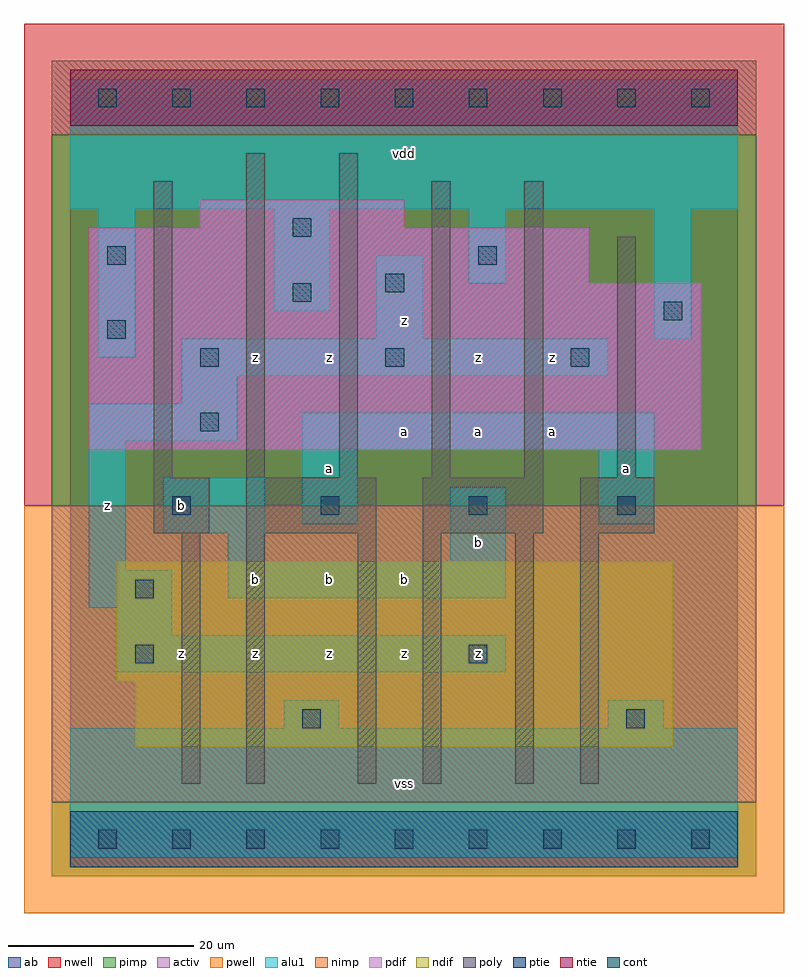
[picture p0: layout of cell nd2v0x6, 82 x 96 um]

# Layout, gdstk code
import gdstk
lib = gdstk.Library(unit=1e-6, precision=1e-09)
def R(c, l, rs):  # rectangles x0, y0, x1, y1
    for r in rs: c.add(gdstk.rectangle(r[:2], r[2:], *l))
def A(c, l, x, y, w, h, nx, ny, dx, dy):  # array of equal rectangles
    R(c, l, [(x+i*dx, y+j*dy, x+i*dx+w, y+j*dy+h) for i in range(nx) for j in range(ny)])
ndif = (3, 0)
pdif = (4, 0)
ntie = (5, 0)
ptie = (6, 0)
cont = (25, 0)
pwell = (41, 0)
nwell = (42, 0)
activ = (43, 0)
pimp = (44, 0)
nimp = (45, 0)
poly = (46, 0)
alu1 = (49, 0)
ab = (63, 0)

nd2v0x6 = lib.new_cell('nd2v0x6')
R(nd2v0x6, ndif, [(7,10,65,17), (5,17,65,30)])
R(nd2v0x6, pdif, [(2,42,68,60), (2,60,56,66), (14,66,36,69)])
R(nd2v0x6, ntie, [(0,77,72,83)])
R(nd2v0x6, ptie, [(0,-3,72,3)])
A(nd2v0x6, cont, 3, -1, 2, 2, 9, 2, 8, 80)
A(nd2v0x6, cont, 11, 35, 2, 2, 4, 1, 16, 0)
A(nd2v0x6, cont, 14, 51, 2, 2, 3, 1, 20, 0)
R(nd2v0x6, cont, [(25,12,27,14), (60,12,62,14), (7,19,9,21), (43,19,45,21), (7,26,9,28), (14,44,16,46), (4,54,6,56), (64,56,66,58), (24,58,26,60), (34,59,36,61), (4,62,6,64), (44,62,46,64), (24,65,26,67)])
R(nd2v0x6, pwell, [(-5,-8,77,36)])
R(nd2v0x6, nwell, [(-5,36,77,88)])
R(nd2v0x6, activ, [(0,-3,72,3), (7,10,65,17), (5,17,65,30), (2,42,68,60), (2,60,56,66), (14,66,36,69), (0,77,72,83)])
R(nd2v0x6, pimp, [(-2,-4,74,4), (-2,36,74,76)])
R(nd2v0x6, nimp, [(-2,4,74,36), (-2,76,74,84)])
R(nd2v0x6, poly, [(12,6,14,33), (19,6,21,33), (31,6,33,33), (38,6,40,33), (48,6,50,33), (55,6,57,33), (9,33,15,39), (19,33,33,39), (38,33,51,39), (55,33,63,39), (9,39,11,71), (19,39,21,74), (29,39,31,74), (39,39,41,71), (49,39,51,71), (59,39,61,65)])
R(nd2v0x6, alu1, [(0,-2,72,12), (23,12,29,15), (58,12,64,15), (5,18,47,22), (5,22,11,25), (2,25,11,29), (17,26,47,30), (2,29,6,43), (17,30,21,33), (41,30,47,38), (10,33,21,39), (25,34,31,42), (57,34,63,42), (25,42,63,46), (2,43,18,47), (12,47,18,50), (12,50,58,54), (3,52,7,68), (33,54,38,63), (63,54,67,68), (22,57,28,68), (43,60,47,68), (0,68,72,82)])
R(nd2v0x6, ab, [(0,0,72,80)])
nd2v0x6.add(gdstk.Label('z', (12,20), layer=49, texttype=0))
nd2v0x6.add(gdstk.Label('b', (12,36), layer=49, texttype=0))
nd2v0x6.add(gdstk.Label('z', (4,36), layer=49, texttype=0))
nd2v0x6.add(gdstk.Label('z', (28,20), layer=49, texttype=0))
nd2v0x6.add(gdstk.Label('z', (20,20), layer=49, texttype=0))
nd2v0x6.add(gdstk.Label('b', (20,28), layer=49, texttype=0))
nd2v0x6.add(gdstk.Label('b', (28,28), layer=49, texttype=0))
nd2v0x6.add(gdstk.Label('a', (28,40), layer=49, texttype=0))
nd2v0x6.add(gdstk.Label('z', (20,52), layer=49, texttype=0))
nd2v0x6.add(gdstk.Label('z', (28,52), layer=49, texttype=0))
nd2v0x6.add(gdstk.Label('vss', (36,6), layer=49, texttype=0))
nd2v0x6.add(gdstk.Label('z', (44,20), layer=49, texttype=0))
nd2v0x6.add(gdstk.Label('z', (36,20), layer=49, texttype=0))
nd2v0x6.add(gdstk.Label('b', (36,28), layer=49, texttype=0))
nd2v0x6.add(gdstk.Label('b', (44,32), layer=49, texttype=0))
nd2v0x6.add(gdstk.Label('a', (44,44), layer=49, texttype=0))
nd2v0x6.add(gdstk.Label('a', (52,44), layer=49, texttype=0))
nd2v0x6.add(gdstk.Label('a', (36,44), layer=49, texttype=0))
nd2v0x6.add(gdstk.Label('z', (36,56), layer=49, texttype=0))
nd2v0x6.add(gdstk.Label('z', (44,52), layer=49, texttype=0))
nd2v0x6.add(gdstk.Label('z', (52,52), layer=49, texttype=0))
nd2v0x6.add(gdstk.Label('vdd', (36,74), layer=49, texttype=0))
nd2v0x6.add(gdstk.Label('a', (60,40), layer=49, texttype=0))

lib.write_gds('nd2v0x6.gds')
